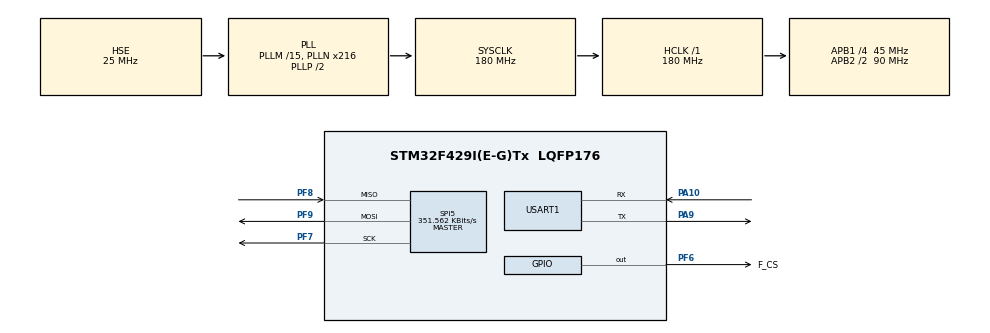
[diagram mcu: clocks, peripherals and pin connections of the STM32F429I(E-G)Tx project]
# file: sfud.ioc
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Mcu.Family=STM32F4
Mcu.Name=STM32F429I(E-G)Tx
Mcu.Package=LQFP176
NVIC.PriorityGroup=NVIC_PRIORITYGROUP_4
PA10.Mode=Asynchronous
PA10.Signal=USART1_RX
PA13.Mode=Serial_Wire
PA13.Signal=SYS_JTMS-SWDIO
PA14.Mode=Serial_Wire
PA14.Signal=SYS_JTCK-SWCLK
PA9.Mode=Asynchronous
PA9.Signal=USART1_TX
PF6.GPIO_Label=F_CS
PF6.GPIO_Speed=GPIO_SPEED_FREQ_HIGH
PF6.PinState=GPIO_PIN_SET
PF6.Signal=GPIO_Output
PF7.Mode=Full_Duplex_Master
PF7.Signal=SPI5_SCK
PF8.Mode=Full_Duplex_Master
PF8.Signal=SPI5_MISO
PF9.Mode=Full_Duplex_Master
PF9.Signal=SPI5_MOSI
PH0/OSC_IN.Mode=HSE-External-Oscillator
PH0/OSC_IN.Signal=RCC_OSC_IN
PH1/OSC_OUT.Mode=HSE-External-Oscillator
PH1/OSC_OUT.Signal=RCC_OSC_OUT
ProjectManager.HeapSize=0x200
ProjectManager.StackSize=0x400
ProjectManager.TargetToolchain=MDK-ARM V5
RCC.48MHZClocksFreq_Value=90000000
RCC.AHBFreq_Value=180000000
RCC.APB1CLKDivider=RCC_HCLK_DIV4
RCC.APB1Freq_Value=45000000
RCC.APB1TimFreq_Value=90000000
RCC.APB2CLKDivider=RCC_HCLK_DIV2
RCC.APB2Freq_Value=90000000
RCC.APB2TimFreq_Value=180000000
RCC.CortexFreq_Value=180000000
RCC.HCLKFreq_Value=180000000
RCC.HSE_VALUE=25000000
RCC.HSI_VALUE=16000000
RCC.LSE_VALUE=32768
RCC.PLLM=15
RCC.PLLN=216
RCC.PLLSourceVirtual=RCC_PLLSOURCE_HSE
RCC.SYSCLKFreq_VALUE=180000000
RCC.SYSCLKSource=RCC_SYSCLKSOURCE_PLLCLK
RCC.VCOOutputFreq_Value=360000000
SPI5.BaudRatePrescaler=SPI_BAUDRATEPRESCALER_256
SPI5.CalculateBaudRate=351.562 KBits/s
SPI5.Direction=SPI_DIRECTION_2LINES
SPI5.Mode=SPI_MODE_MASTER
SPI5.VirtualType=VM_MASTER
USART1.VirtualMode=VM_ASYNC
board=custom

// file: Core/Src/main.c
/* USER CODE BEGIN Header */
/**
  ******************************************************************************
  * @file           : main.c
  * @brief          : Main program body
  ******************************************************************************
  * @attention
  *
  * Copyright (c) 2026 STMicroelectronics.
  * All rights reserved.
  *
  * This software is licensed under terms that can be found in the LICENSE file
  * in the root directory of this software component.
  * If no LICENSE file comes with this software, it is provided AS-IS.
  *
  ******************************************************************************
  */
/* USER CODE END Header */
#include "main.h"
#include "spi.h"
#include "usart.h"
#include "gpio.h"

/* USER CODE BEGIN Includes */
#include "sfud.h"
#include <stdio.h>
#include <string.h>
/* USER CODE END Includes */

void SystemClock_Config(void);

/* USER CODE BEGIN 0 */
/* 重定向 printf 到串口*/
int fputc(int ch, FILE *f)
{
    HAL_UART_Transmit(&huart1, (uint8_t *)&ch, 1, HAL_MAX_DELAY);
    return ch;
}
/* USER CODE END 0 */

int main(void)
{

  /* MCU Configuration--------------------------------------------------------*/

  /* Reset of all peripherals, Initializes the Flash interface and the Systick. */
  HAL_Init();

  /* Configure the system clock */
  SystemClock_Config();

  /* Initialize all configured peripherals */
  MX_GPIO_Init();
  MX_SPI5_Init();
  MX_USART1_UART_Init();
  /* USER CODE BEGIN 2 */
	printf("\r\n========== SFUD Test ==========\r\n");

	/* 初始化 SFUD */
	if (sfud_init() == SFUD_SUCCESS) {
			printf("SFUD init OK!\r\n");
	} else {
			printf("SFUD init FAILED!\r\n");
			while (1);
	}
	/* 获取 Flash 设备 */
	const sfud_flash *flash = sfud_get_device_table() + 0;

	printf("Flash name: %s\r\n", flash->name);
	printf("Flash size: %u KB\r\n", flash->chip.capacity / 1024);

	/* 读写测试 */
	uint32_t test_addr = 0x000000;
	uint8_t write_buf[256];
	uint8_t read_buf[256];

	for (int i = 0; i < 256; i++) {
			write_buf[i] = i;
	}
	memset(read_buf, 0, 256);

	/* 擦除 */
	printf("Erasing...\r\n");
	sfud_erase(flash, test_addr, 4096);

	/* 写入 */
	printf("Writing...\r\n");
	sfud_write(flash, test_addr, 256, write_buf);

	/* 读取 */
	printf("Reading...\r\n");
	sfud_read(flash, test_addr, 256, read_buf);

	/* 校验 */
	if (memcmp(write_buf, read_buf, 256) == 0) {
			printf(">>> Verify SUCCESS! <<<\r\n");
	} else {
			printf(">>> Verify FAILED! <<<\r\n");
	}
  /* USER CODE END 2 */

  /* Infinite loop */
  while (1)
  {

  }
}

void SystemClock_Config(void)
{
  RCC_OscInitTypeDef RCC_OscInitStruct = {0};
  RCC_ClkInitTypeDef RCC_ClkInitStruct = {0};

  /** Configure the main internal regulator output voltage
  */
  __HAL_RCC_PWR_CLK_ENABLE();
  __HAL_PWR_VOLTAGESCALING_CONFIG(PWR_REGULATOR_VOLTAGE_SCALE1);

  /** Initializes the RCC Oscillators according to the specified parameters
  * in the RCC_OscInitTypeDef structure.
  */
  RCC_OscInitStruct.OscillatorType = RCC_OSCILLATORTYPE_HSE;
  RCC_OscInitStruct.HSEState = RCC_HSE_ON;
  RCC_OscInitStruct.PLL.PLLState = RCC_PLL_ON;
  RCC_OscInitStruct.PLL.PLLSource = RCC_PLLSOURCE_HSE;
  RCC_OscInitStruct.PLL.PLLM = 15;
  RCC_OscInitStruct.PLL.PLLN = 216;
  RCC_OscInitStruct.PLL.PLLP = RCC_PLLP_DIV2;
  RCC_OscInitStruct.PLL.PLLQ = 4;
  if (HAL_RCC_OscConfig(&RCC_OscInitStruct) != HAL_OK)
  {
    Error_Handler();
  }

  /** Activate the Over-Drive mode
  */
  if (HAL_PWREx_EnableOverDrive() != HAL_OK)
  {
    Error_Handler();
  }

  /** Initializes the CPU, AHB and APB buses clocks
  */
  RCC_ClkInitStruct.ClockType = RCC_CLOCKTYPE_HCLK|RCC_CLOCKTYPE_SYSCLK
                              |RCC_CLOCKTYPE_PCLK1|RCC_CLOCKTYPE_PCLK2;
  RCC_ClkInitStruct.SYSCLKSource = RCC_SYSCLKSOURCE_PLLCLK;
  RCC_ClkInitStruct.AHBCLKDivider = RCC_SYSCLK_DIV1;
  RCC_ClkInitStruct.APB1CLKDivider = RCC_HCLK_DIV4;
  RCC_ClkInitStruct.APB2CLKDivider = RCC_HCLK_DIV2;

  if (HAL_RCC_ClockConfig(&RCC_ClkInitStruct, FLASH_LATENCY_5) != HAL_OK)
  {
    Error_Handler();
  }
}

void Error_Handler(void)
{
  __disable_irq();
  while (1)
  {
  }
}
